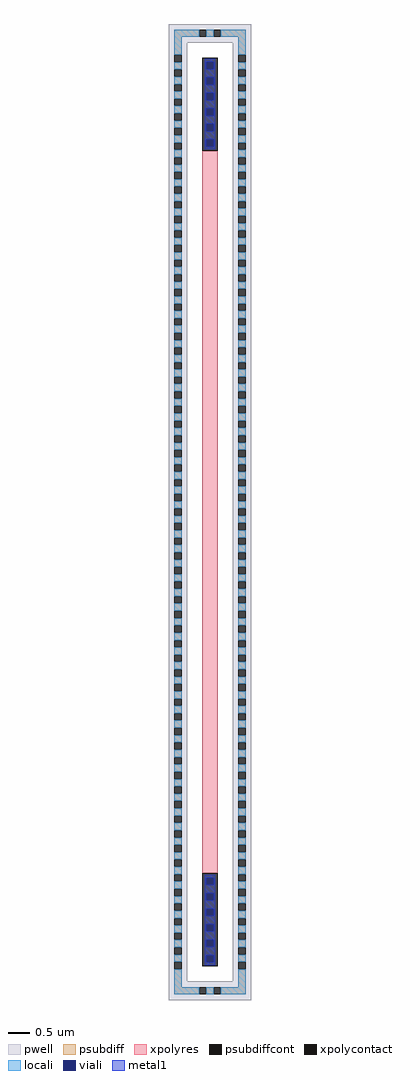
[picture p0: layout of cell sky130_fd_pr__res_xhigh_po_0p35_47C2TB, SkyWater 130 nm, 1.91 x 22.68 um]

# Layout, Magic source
magic
tech sky130A
magscale 1 2
<< pwell >>
rect -191 2182 191 2268
rect -191 -2182 -105 2182
rect 105 -2182 191 2182
rect -191 -2268 191 -2182
<< psubdiff >>
rect -165 2208 -51 2242
rect -17 2208 17 2242
rect 51 2208 165 2242
rect -165 2125 -131 2208
rect 131 2125 165 2208
rect -165 2057 -131 2091
rect -165 1989 -131 2023
rect -165 1921 -131 1955
rect -165 1853 -131 1887
rect -165 1785 -131 1819
rect -165 1717 -131 1751
rect -165 1649 -131 1683
rect -165 1581 -131 1615
rect -165 1513 -131 1547
rect -165 1445 -131 1479
rect -165 1377 -131 1411
rect -165 1309 -131 1343
rect -165 1241 -131 1275
rect -165 1173 -131 1207
rect -165 1105 -131 1139
rect -165 1037 -131 1071
rect -165 969 -131 1003
rect -165 901 -131 935
rect -165 833 -131 867
rect -165 765 -131 799
rect -165 697 -131 731
rect -165 629 -131 663
rect -165 561 -131 595
rect -165 493 -131 527
rect -165 425 -131 459
rect -165 357 -131 391
rect -165 289 -131 323
rect -165 221 -131 255
rect -165 153 -131 187
rect -165 85 -131 119
rect -165 17 -131 51
rect -165 -51 -131 -17
rect -165 -119 -131 -85
rect -165 -187 -131 -153
rect -165 -255 -131 -221
rect -165 -323 -131 -289
rect -165 -391 -131 -357
rect -165 -459 -131 -425
rect -165 -527 -131 -493
rect -165 -595 -131 -561
rect -165 -663 -131 -629
rect -165 -731 -131 -697
rect -165 -799 -131 -765
rect -165 -867 -131 -833
rect -165 -935 -131 -901
rect -165 -1003 -131 -969
rect -165 -1071 -131 -1037
rect -165 -1139 -131 -1105
rect -165 -1207 -131 -1173
rect -165 -1275 -131 -1241
rect -165 -1343 -131 -1309
rect -165 -1411 -131 -1377
rect -165 -1479 -131 -1445
rect -165 -1547 -131 -1513
rect -165 -1615 -131 -1581
rect -165 -1683 -131 -1649
rect -165 -1751 -131 -1717
rect -165 -1819 -131 -1785
rect -165 -1887 -131 -1853
rect -165 -1955 -131 -1921
rect -165 -2023 -131 -1989
rect -165 -2091 -131 -2057
rect 131 2057 165 2091
rect 131 1989 165 2023
rect 131 1921 165 1955
rect 131 1853 165 1887
rect 131 1785 165 1819
rect 131 1717 165 1751
rect 131 1649 165 1683
rect 131 1581 165 1615
rect 131 1513 165 1547
rect 131 1445 165 1479
rect 131 1377 165 1411
rect 131 1309 165 1343
rect 131 1241 165 1275
rect 131 1173 165 1207
rect 131 1105 165 1139
rect 131 1037 165 1071
rect 131 969 165 1003
rect 131 901 165 935
rect 131 833 165 867
rect 131 765 165 799
rect 131 697 165 731
rect 131 629 165 663
rect 131 561 165 595
rect 131 493 165 527
rect 131 425 165 459
rect 131 357 165 391
rect 131 289 165 323
rect 131 221 165 255
rect 131 153 165 187
rect 131 85 165 119
rect 131 17 165 51
rect 131 -51 165 -17
rect 131 -119 165 -85
rect 131 -187 165 -153
rect 131 -255 165 -221
rect 131 -323 165 -289
rect 131 -391 165 -357
rect 131 -459 165 -425
rect 131 -527 165 -493
rect 131 -595 165 -561
rect 131 -663 165 -629
rect 131 -731 165 -697
rect 131 -799 165 -765
rect 131 -867 165 -833
rect 131 -935 165 -901
rect 131 -1003 165 -969
rect 131 -1071 165 -1037
rect 131 -1139 165 -1105
rect 131 -1207 165 -1173
rect 131 -1275 165 -1241
rect 131 -1343 165 -1309
rect 131 -1411 165 -1377
rect 131 -1479 165 -1445
rect 131 -1547 165 -1513
rect 131 -1615 165 -1581
rect 131 -1683 165 -1649
rect 131 -1751 165 -1717
rect 131 -1819 165 -1785
rect 131 -1887 165 -1853
rect 131 -1955 165 -1921
rect 131 -2023 165 -1989
rect 131 -2091 165 -2057
rect -165 -2208 -131 -2125
rect 131 -2208 165 -2125
rect -165 -2242 -51 -2208
rect -17 -2242 17 -2208
rect 51 -2242 165 -2208
<< psubdiffcont >>
rect -51 2208 -17 2242
rect 17 2208 51 2242
rect -165 2091 -131 2125
rect -165 2023 -131 2057
rect -165 1955 -131 1989
rect -165 1887 -131 1921
rect -165 1819 -131 1853
rect -165 1751 -131 1785
rect -165 1683 -131 1717
rect -165 1615 -131 1649
rect -165 1547 -131 1581
rect -165 1479 -131 1513
rect -165 1411 -131 1445
rect -165 1343 -131 1377
rect -165 1275 -131 1309
rect -165 1207 -131 1241
rect -165 1139 -131 1173
rect -165 1071 -131 1105
rect -165 1003 -131 1037
rect -165 935 -131 969
rect -165 867 -131 901
rect -165 799 -131 833
rect -165 731 -131 765
rect -165 663 -131 697
rect -165 595 -131 629
rect -165 527 -131 561
rect -165 459 -131 493
rect -165 391 -131 425
rect -165 323 -131 357
rect -165 255 -131 289
rect -165 187 -131 221
rect -165 119 -131 153
rect -165 51 -131 85
rect -165 -17 -131 17
rect -165 -85 -131 -51
rect -165 -153 -131 -119
rect -165 -221 -131 -187
rect -165 -289 -131 -255
rect -165 -357 -131 -323
rect -165 -425 -131 -391
rect -165 -493 -131 -459
rect -165 -561 -131 -527
rect -165 -629 -131 -595
rect -165 -697 -131 -663
rect -165 -765 -131 -731
rect -165 -833 -131 -799
rect -165 -901 -131 -867
rect -165 -969 -131 -935
rect -165 -1037 -131 -1003
rect -165 -1105 -131 -1071
rect -165 -1173 -131 -1139
rect -165 -1241 -131 -1207
rect -165 -1309 -131 -1275
rect -165 -1377 -131 -1343
rect -165 -1445 -131 -1411
rect -165 -1513 -131 -1479
rect -165 -1581 -131 -1547
rect -165 -1649 -131 -1615
rect -165 -1717 -131 -1683
rect -165 -1785 -131 -1751
rect -165 -1853 -131 -1819
rect -165 -1921 -131 -1887
rect -165 -1989 -131 -1955
rect -165 -2057 -131 -2023
rect -165 -2125 -131 -2091
rect 131 2091 165 2125
rect 131 2023 165 2057
rect 131 1955 165 1989
rect 131 1887 165 1921
rect 131 1819 165 1853
rect 131 1751 165 1785
rect 131 1683 165 1717
rect 131 1615 165 1649
rect 131 1547 165 1581
rect 131 1479 165 1513
rect 131 1411 165 1445
rect 131 1343 165 1377
rect 131 1275 165 1309
rect 131 1207 165 1241
rect 131 1139 165 1173
rect 131 1071 165 1105
rect 131 1003 165 1037
rect 131 935 165 969
rect 131 867 165 901
rect 131 799 165 833
rect 131 731 165 765
rect 131 663 165 697
rect 131 595 165 629
rect 131 527 165 561
rect 131 459 165 493
rect 131 391 165 425
rect 131 323 165 357
rect 131 255 165 289
rect 131 187 165 221
rect 131 119 165 153
rect 131 51 165 85
rect 131 -17 165 17
rect 131 -85 165 -51
rect 131 -153 165 -119
rect 131 -221 165 -187
rect 131 -289 165 -255
rect 131 -357 165 -323
rect 131 -425 165 -391
rect 131 -493 165 -459
rect 131 -561 165 -527
rect 131 -629 165 -595
rect 131 -697 165 -663
rect 131 -765 165 -731
rect 131 -833 165 -799
rect 131 -901 165 -867
rect 131 -969 165 -935
rect 131 -1037 165 -1003
rect 131 -1105 165 -1071
rect 131 -1173 165 -1139
rect 131 -1241 165 -1207
rect 131 -1309 165 -1275
rect 131 -1377 165 -1343
rect 131 -1445 165 -1411
rect 131 -1513 165 -1479
rect 131 -1581 165 -1547
rect 131 -1649 165 -1615
rect 131 -1717 165 -1683
rect 131 -1785 165 -1751
rect 131 -1853 165 -1819
rect 131 -1921 165 -1887
rect 131 -1989 165 -1955
rect 131 -2057 165 -2023
rect 131 -2125 165 -2091
rect -51 -2242 -17 -2208
rect 17 -2242 51 -2208
<< xpolycontact >>
rect -35 1680 35 2112
rect -35 -2112 35 -1680
<< xpolyres >>
rect -35 -1680 35 1680
<< locali >>
rect -165 2208 -51 2242
rect -17 2208 17 2242
rect 51 2208 165 2242
rect -165 2125 -131 2208
rect 131 2125 165 2208
rect -165 2057 -131 2091
rect -165 1989 -131 2023
rect -165 1921 -131 1955
rect -165 1853 -131 1887
rect -165 1785 -131 1819
rect -165 1717 -131 1751
rect -165 1649 -131 1683
rect 131 2057 165 2091
rect 131 1989 165 2023
rect 131 1921 165 1955
rect 131 1853 165 1887
rect 131 1785 165 1819
rect 131 1717 165 1751
rect -165 1581 -131 1615
rect -165 1513 -131 1547
rect -165 1445 -131 1479
rect -165 1377 -131 1411
rect -165 1309 -131 1343
rect -165 1241 -131 1275
rect -165 1173 -131 1207
rect -165 1105 -131 1139
rect -165 1037 -131 1071
rect -165 969 -131 1003
rect -165 901 -131 935
rect -165 833 -131 867
rect -165 765 -131 799
rect -165 697 -131 731
rect -165 629 -131 663
rect -165 561 -131 595
rect -165 493 -131 527
rect -165 425 -131 459
rect -165 357 -131 391
rect -165 289 -131 323
rect -165 221 -131 255
rect -165 153 -131 187
rect -165 85 -131 119
rect -165 17 -131 51
rect -165 -51 -131 -17
rect -165 -119 -131 -85
rect -165 -187 -131 -153
rect -165 -255 -131 -221
rect -165 -323 -131 -289
rect -165 -391 -131 -357
rect -165 -459 -131 -425
rect -165 -527 -131 -493
rect -165 -595 -131 -561
rect -165 -663 -131 -629
rect -165 -731 -131 -697
rect -165 -799 -131 -765
rect -165 -867 -131 -833
rect -165 -935 -131 -901
rect -165 -1003 -131 -969
rect -165 -1071 -131 -1037
rect -165 -1139 -131 -1105
rect -165 -1207 -131 -1173
rect -165 -1275 -131 -1241
rect -165 -1343 -131 -1309
rect -165 -1411 -131 -1377
rect -165 -1479 -131 -1445
rect -165 -1547 -131 -1513
rect -165 -1615 -131 -1581
rect -165 -1683 -131 -1649
rect 131 1649 165 1683
rect 131 1581 165 1615
rect 131 1513 165 1547
rect 131 1445 165 1479
rect 131 1377 165 1411
rect 131 1309 165 1343
rect 131 1241 165 1275
rect 131 1173 165 1207
rect 131 1105 165 1139
rect 131 1037 165 1071
rect 131 969 165 1003
rect 131 901 165 935
rect 131 833 165 867
rect 131 765 165 799
rect 131 697 165 731
rect 131 629 165 663
rect 131 561 165 595
rect 131 493 165 527
rect 131 425 165 459
rect 131 357 165 391
rect 131 289 165 323
rect 131 221 165 255
rect 131 153 165 187
rect 131 85 165 119
rect 131 17 165 51
rect 131 -51 165 -17
rect 131 -119 165 -85
rect 131 -187 165 -153
rect 131 -255 165 -221
rect 131 -323 165 -289
rect 131 -391 165 -357
rect 131 -459 165 -425
rect 131 -527 165 -493
rect 131 -595 165 -561
rect 131 -663 165 -629
rect 131 -731 165 -697
rect 131 -799 165 -765
rect 131 -867 165 -833
rect 131 -935 165 -901
rect 131 -1003 165 -969
rect 131 -1071 165 -1037
rect 131 -1139 165 -1105
rect 131 -1207 165 -1173
rect 131 -1275 165 -1241
rect 131 -1343 165 -1309
rect 131 -1411 165 -1377
rect 131 -1479 165 -1445
rect 131 -1547 165 -1513
rect 131 -1615 165 -1581
rect -165 -1751 -131 -1717
rect -165 -1819 -131 -1785
rect -165 -1887 -131 -1853
rect -165 -1955 -131 -1921
rect -165 -2023 -131 -1989
rect -165 -2091 -131 -2057
rect 131 -1683 165 -1649
rect 131 -1751 165 -1717
rect 131 -1819 165 -1785
rect 131 -1887 165 -1853
rect 131 -1955 165 -1921
rect 131 -2023 165 -1989
rect 131 -2091 165 -2057
rect -165 -2208 -131 -2125
rect 131 -2208 165 -2125
rect -165 -2242 -51 -2208
rect -17 -2242 17 -2208
rect 51 -2242 165 -2208
<< viali >>
rect -17 2058 17 2092
rect -17 1986 17 2020
rect -17 1914 17 1948
rect -17 1842 17 1876
rect -17 1770 17 1804
rect -17 1698 17 1732
rect -17 -1733 17 -1699
rect -17 -1805 17 -1771
rect -17 -1877 17 -1843
rect -17 -1949 17 -1915
rect -17 -2021 17 -1987
rect -17 -2093 17 -2059
<< metal1 >>
rect -25 2092 25 2106
rect -25 2058 -17 2092
rect 17 2058 25 2092
rect -25 2020 25 2058
rect -25 1986 -17 2020
rect 17 1986 25 2020
rect -25 1948 25 1986
rect -25 1914 -17 1948
rect 17 1914 25 1948
rect -25 1876 25 1914
rect -25 1842 -17 1876
rect 17 1842 25 1876
rect -25 1804 25 1842
rect -25 1770 -17 1804
rect 17 1770 25 1804
rect -25 1732 25 1770
rect -25 1698 -17 1732
rect 17 1698 25 1732
rect -25 1685 25 1698
rect -25 -1699 25 -1685
rect -25 -1733 -17 -1699
rect 17 -1733 25 -1699
rect -25 -1771 25 -1733
rect -25 -1805 -17 -1771
rect 17 -1805 25 -1771
rect -25 -1843 25 -1805
rect -25 -1877 -17 -1843
rect 17 -1877 25 -1843
rect -25 -1915 25 -1877
rect -25 -1949 -17 -1915
rect 17 -1949 25 -1915
rect -25 -1987 25 -1949
rect -25 -2021 -17 -1987
rect 17 -2021 25 -1987
rect -25 -2059 25 -2021
rect -25 -2093 -17 -2059
rect 17 -2093 25 -2059
rect -25 -2106 25 -2093
<< properties >>
string FIXED_BBOX -148 -2225 148 2225
<< end >>
